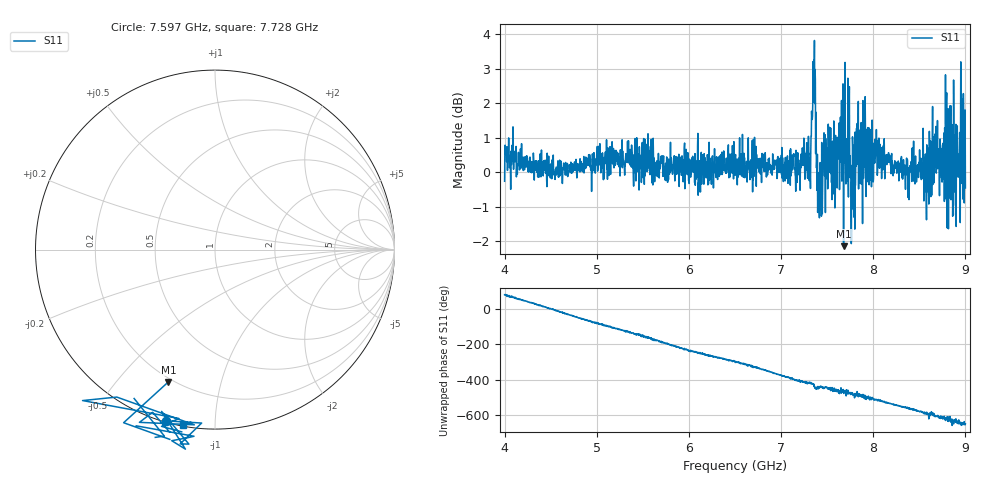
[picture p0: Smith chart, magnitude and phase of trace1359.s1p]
! Created with skrf 1.8.0 (http://scikit-rf.org).
# Hz S RI R 50.0
!freq ReS11 ImS11
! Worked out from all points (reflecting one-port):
!   1601 points, 4 GHz to 9 GHz, reference 50 ohm
!   lowest |S11| = -2.1 dB at 7.678 GHz (marker M1), VSWR 8.15, Z = 9.13 - j34.6 ohm
!   phase of S11 starts at 79 deg and turns -728 deg over the sweep
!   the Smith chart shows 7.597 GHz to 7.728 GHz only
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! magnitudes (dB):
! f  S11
! 4 GHz  -0.3
! 4.028 GHz  0.4
! 4.625 GHz  -0.3
! 5.25 GHz  0.2
! 5.875 GHz  0.1
! 6.5 GHz  -0.1
! 7.125 GHz  0.3
! 7.297 GHz  1.0
! 7.353 GHz  2.0
! 7.369 GHz  3.0
! 7.4 GHz  -0.5
! 7.422 GHz  0.3
! 7.478 GHz  1.1
! 7.575 GHz  0.4
! 7.65 GHz  1.4
! 7.678 GHz  -2.1
! 7.75 GHz  -0.2
! 7.775 GHz  1.0
! 7.844 GHz  1.2
! 8.375 GHz  -0.2
! 8.522 GHz  -0.2
! 8.581 GHz  0.8
! 8.656 GHz  1.0
! 8.725 GHz  1.0
! 8.788 GHz  -0.1
! 8.919 GHz  -0.1
! 8.972 GHz  0.6
! 9 GHz  -0.5
